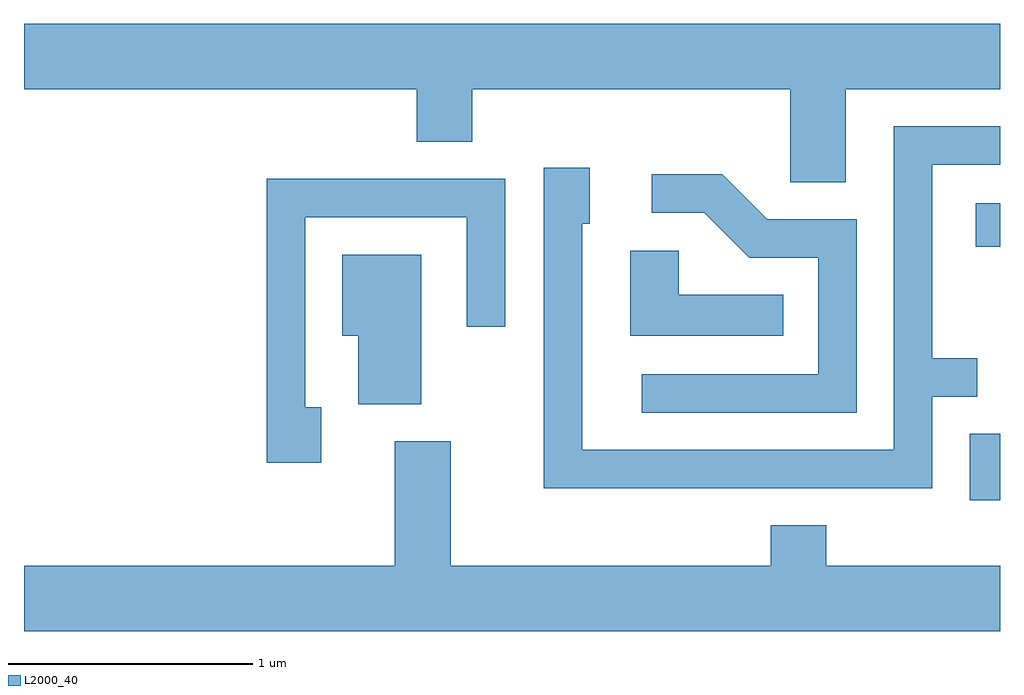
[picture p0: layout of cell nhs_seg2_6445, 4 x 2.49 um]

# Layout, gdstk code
import gdstk
lib = gdstk.Library(unit=1e-6, precision=1e-09)
def R(c, l, rs):  # rectangles x0, y0, x1, y1
    for r in rs: c.add(gdstk.rectangle(r[:2], r[2:], *l))
def P(c, l, *ps):  # polygons
    for p in ps: c.add(gdstk.Polygon(p, *l))
L2000_40 = (2000, 40)

nhs_seg2_6445 = lib.new_cell('nhs_seg2_6445')
R(nhs_seg2_6445, L2000_40, [(379.486,1017.773,379.611,1018.044), (379.511,1018.811,379.611,1018.989)])
P(nhs_seg2_6445, L2000_40, [(378.979,1019.456),(379.611,1019.456),(379.611,1019.724),(375.611,1019.724),(375.611,1019.456),(377.221,1019.456),(377.221,1019.241),(377.449,1019.241),(377.449,1019.456),(378.751,1019.456),(378.751,1019.076),(378.979,1019.076)],
  [(379.334,1018.196),(379.518,1018.196),(379.518,1018.354),(379.334,1018.354),(379.334,1019.146),(379.611,1019.146),(379.611,1019.304),(379.176,1019.304),(379.176,1017.979),(377.899,1017.979),(377.899,1018.906),(377.929,1018.906),(377.929,1019.134),(377.741,1019.134),(377.741,1017.821),(379.334,1017.821)],
  [(379.024,1018.924),(378.657,1018.924),(378.472,1019.109),(378.183,1019.109),(378.183,1018.951),(378.399,1018.951),(378.584,1018.766),(378.866,1018.766),(378.866,1018.289),(378.143,1018.289),(378.143,1018.131),(379.024,1018.131)],
  [(376.829,1018.154),(376.764,1018.154),(376.764,1018.931),(377.426,1018.931),(377.426,1018.483),(377.584,1018.483),(377.584,1019.089),(376.606,1019.089),(376.606,1017.926),(376.829,1017.926)],
  [(378.723,1018.614),(378.294,1018.614),(378.294,1018.794),(378.096,1018.794),(378.096,1018.446),(378.723,1018.446)],
  [(377.239,1018.779),(376.916,1018.779),(376.916,1018.446),(376.981,1018.446),(376.981,1018.166),(377.239,1018.166)],
  [(378.671,1017.669),(378.671,1017.504),(377.359,1017.504),(377.359,1018.014),(377.131,1018.014),(377.131,1017.504),(375.611,1017.504),(375.611,1017.236),(379.611,1017.236),(379.611,1017.504),(378.899,1017.504),(378.899,1017.669)])

lib.write_gds('nhs_seg2_6445.gds')
